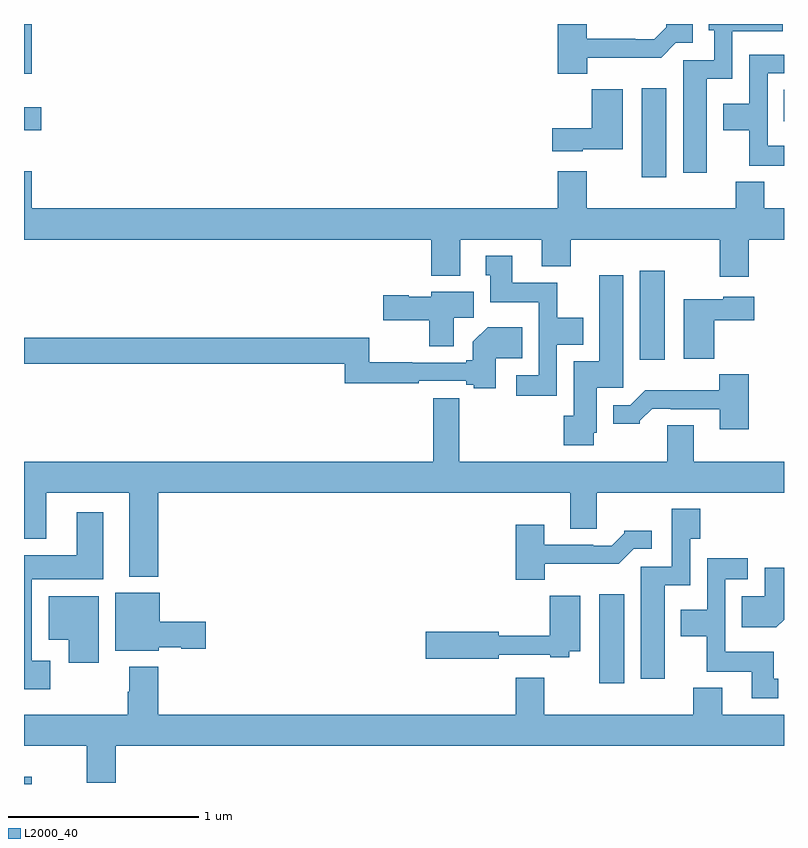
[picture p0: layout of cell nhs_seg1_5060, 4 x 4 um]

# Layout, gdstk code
import gdstk
lib = gdstk.Library(unit=1e-6, precision=1e-09)
def R(c, l, rs):  # rectangles x0, y0, x1, y1
    for r in rs: c.add(gdstk.rectangle(r[:2], r[2:], *l))
def P(c, l, *ps):  # polygons
    for p in ps: c.add(gdstk.Polygon(p, *l))
L2000_40 = (2000, 40)

nhs_seg1_5060 = lib.new_cell('nhs_seg1_5060')
R(nhs_seg1_5060, L2000_40, [(385,550.199,385.042,550.237), (388.028,550.728,388.159,551.197), (388.241,552.432,388.372,552.901), (388.25,553.392,388.381,553.861), (385,553.64,385.09,553.762), (388.999,553.688,389,553.852), (385,553.937,385.04,554.199)])
P(nhs_seg1_5060, L2000_40, [(388.594,553.91),(388.728,553.91),(388.728,554.162),(388.993,554.162),(388.993,554.199),(388.604,554.199),(388.604,554.166),(388.632,554.166),(388.632,554.007),(388.469,554.007),(388.469,553.416),(388.594,553.416)],
  [(387.964,554.022),(388.353,554.022),(388.431,554.1),(388.519,554.1),(388.519,554.197),(388.38,554.197),(388.38,554.182),(388.316,554.118),(388.217,554.118),(388.217,554.121),(387.961,554.121),(387.961,554.199),(387.809,554.199),(387.809,553.937),(387.964,553.937)],
  [(389,553.558),(388.914,553.558),(388.914,553.941),(389,553.941),(389,554.037),(388.818,554.037),(388.818,553.78),(388.679,553.78),(388.679,553.64),(388.816,553.64),(388.816,553.454),(389,553.454)],
  [(387.942,553.541),(388.15,553.541),(388.15,553.855),(387.988,553.855),(387.988,553.651),(387.78,553.651),(387.78,553.529),(387.942,553.529)],
  [(388.814,553.064),(389,553.064),(389,553.228),(388.897,553.228),(388.897,553.369),(388.745,553.369),(388.745,553.228),(387.961,553.228),(387.961,553.423),(387.809,553.423),(387.809,553.228),(385.04,553.228),(385.04,553.423),(385,553.423),(385,553.064),(387.143,553.064),(387.143,552.875),(387.295,552.875),(387.295,553.064),(387.725,553.064),(387.725,552.923),(387.878,552.923),(387.878,553.064),(388.661,553.064),(388.661,552.87),(388.814,552.87)],
  [(387.804,552.512),(387.943,552.512),(387.943,552.652),(387.807,552.652),(387.807,552.838),(387.571,552.838),(387.571,552.979),(387.431,552.979),(387.431,552.876),(387.455,552.876),(387.455,552.734),(387.708,552.734),(387.708,552.351),(387.591,552.351),(387.591,552.243),(387.804,552.243)],
  [(387.999,552.048),(388.015,552.048),(388.015,552.285),(388.153,552.285),(388.153,552.877),(388.028,552.877),(388.028,552.424),(387.893,552.424),(387.893,552.138),(387.842,552.138),(387.842,551.982),(387.999,551.982)],
  [(387.262,552.652),(387.367,552.652),(387.367,552.79),(387.144,552.79),(387.144,552.763),(387.024,552.763),(387.024,552.771),(386.892,552.771),(386.892,552.641),(387.133,552.641),(387.133,552.504),(387.262,552.504)],
  [(388.634,552.641),(388.843,552.641),(388.843,552.763),(388.68,552.763),(388.68,552.751),(388.472,552.751),(388.472,552.437),(388.634,552.437)],
  [(387.484,552.44),(387.623,552.44),(387.623,552.604),(387.44,552.604),(387.362,552.526),(387.362,552.43),(387.327,552.43),(387.327,552.417),(387.044,552.417),(387.044,552.42),(386.818,552.42),(386.818,552.548),(385,552.548),(385,552.412),(386.689,552.412),(386.689,552.309),(387.077,552.309),(387.077,552.321),(387.327,552.321),(387.327,552.301),(387.366,552.301),(387.366,552.283),(387.484,552.283)],
  [(388.814,552.355),(388.659,552.355),(388.659,552.271),(388.27,552.271),(388.191,552.192),(388.1,552.192),(388.1,552.095),(388.242,552.095),(388.242,552.11),(388.306,552.174),(388.405,552.174),(388.405,552.171),(388.661,552.171),(388.661,552.066),(388.814,552.066)],
  [(385.706,551.732),(387.875,551.732),(387.875,551.542),(388.015,551.542),(388.015,551.732),(389,551.732),(389,551.896),(388.525,551.896),(388.525,552.086),(388.385,552.086),(388.385,551.896),(387.29,551.896),(387.29,552.229),(387.154,552.229),(387.154,551.896),(385,551.896),(385,551.489),(385.117,551.489),(385.117,551.732),(385.553,551.732),(385.553,551.291),(385.706,551.291)],
  [(388.372,551.246),(388.506,551.246),(388.506,551.491),(388.559,551.491),(388.559,551.647),(388.41,551.647),(388.41,551.343),(388.247,551.343),(388.247,550.752),(388.372,550.752)],
  [(385.138,550.849),(385.042,550.849),(385.042,551.276),(385.417,551.276),(385.417,551.629),(385.277,551.629),(385.277,551.404),(385,551.404),(385,550.697),(385.138,550.697)],
  [(387.742,551.358),(388.131,551.358),(388.209,551.436),(388.303,551.436),(388.303,551.533),(388.158,551.533),(388.158,551.518),(388.094,551.454),(387.995,551.454),(387.995,551.457),(387.739,551.457),(387.739,551.563),(387.587,551.563),(387.587,551.273),(387.742,551.273)],
  [(388.969,550.752),(388.945,550.752),(388.945,550.894),(388.692,550.894),(388.692,551.277),(388.81,551.277),(388.81,551.386),(388.596,551.386),(388.596,551.116),(388.457,551.116),(388.457,550.976),(388.594,550.976),(388.594,550.79),(388.829,550.79),(388.829,550.65),(388.969,550.65)],
  [(389,551.064),(389,551.338),(388.898,551.338),(388.898,551.188),(388.777,551.188),(388.777,551.024),(388.96,551.024)],
  [(385.71,550.919),(385.827,550.919),(385.827,550.912),(385.957,550.912),(385.957,551.054),(385.714,551.054),(385.714,551.206),(385.481,551.206),(385.481,550.901),(385.71,550.901)],
  [(387.498,550.878),(387.77,550.878),(387.77,550.866),(387.87,550.866),(387.87,550.898),(387.928,550.898),(387.928,551.191),(387.766,551.191),(387.766,550.979),(387.498,550.979),(387.498,551),(387.114,551),(387.114,550.858),(387.498,550.858)],
  [(385.393,551.188),(385.13,551.188),(385.13,550.958),(385.235,550.958),(385.235,550.836),(385.393,550.836)],
  [(385.484,550.4),(389,550.4),(389,550.564),(388.675,550.564),(388.675,550.705),(388.523,550.705),(388.523,550.564),(387.739,550.564),(387.739,550.759),(387.587,550.759),(387.587,550.564),(385.706,550.564),(385.706,550.816),(385.553,550.816),(385.553,550.685),(385.546,550.685),(385.546,550.564),(385,550.564),(385,550.4),(385.331,550.4),(385.331,550.206),(385.484,550.206)])

lib.write_gds('nhs_seg1_5060.gds')
